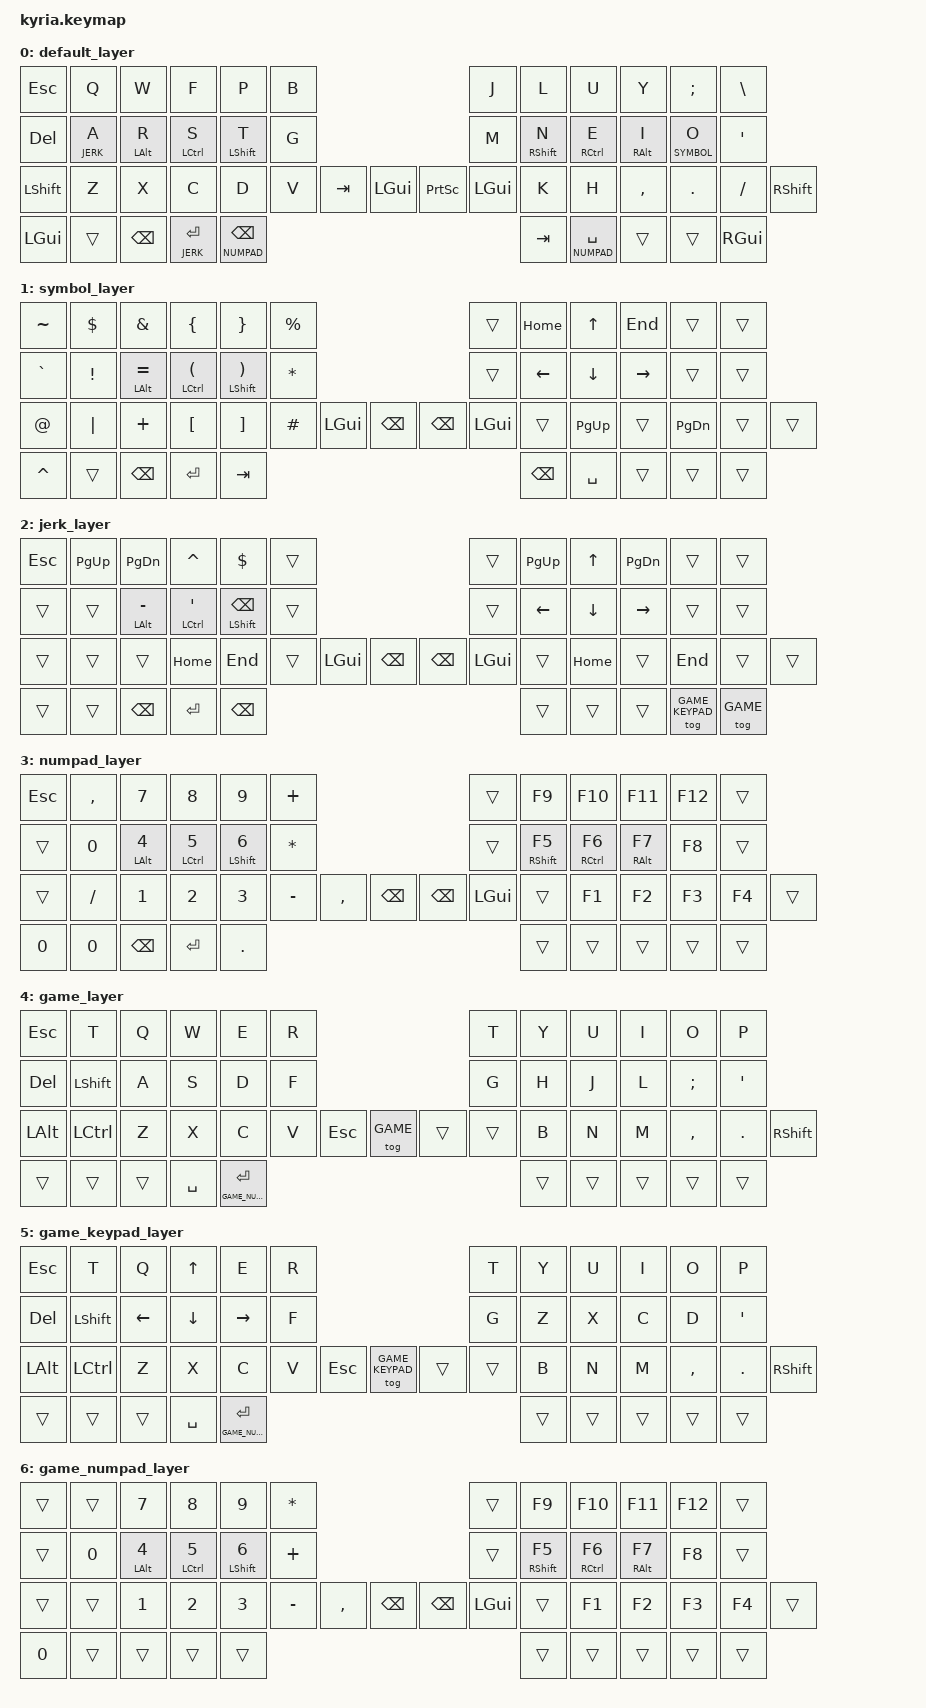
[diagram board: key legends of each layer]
#include <behaviors.dtsi>
#include <dt-bindings/zmk/keys.h>
#include <dt-bindings/zmk/bt.h>
#include <dt-bindings/zmk/ext_power.h>
#define DEFAULT 0
#define SYMBOL 1
#define JERK   2
#define NUMPAD   3
#define GAME   4
#define GAME_KEYPAD  5
#define GAME_NUMPAD  6

/ {
	
  behaviors {        
	  lh_pht: left_hand_positional_hold_tap {            
		compatible = "zmk,behavior-hold-tap";
		label = "POSITIONAL_HOLD_TAP";
		#binding-cells = <2>;
		flavor = "tap-unless-interrupted";
		tapping-term-ms = <120>; // <---[[produces tap if held longer than tapping-term-ms]]          
		quick-tap-ms = <400>;
        bindings = <&kp>, <&kp>;
        hold-trigger-key-positions = <18 19 20 21 22 23>; // <---[[right-hand keys]]   
	};
	rh_pht: right_hand_positional_hold_tap {            
		compatible = "zmk,behavior-hold-tap";
		label = "POSITIONAL_HOLD_TAP";
		#binding-cells = <2>;
		flavor = "tap-unless-interrupted";
		tapping-term-ms = <120>; // <---[[produces tap if held longer than tapping-term-ms]]          
		quick-tap-ms = <400>;
        bindings = <&kp>, <&kp>;
        hold-trigger-key-positions = <12 13 14 15 16 17>; // <---[[left-hand keys]]   
	};
		hm: homerow_mods {            
			compatible = "zmk,behavior-hold-tap";            
			label = "HOMEROW_MODS";            
			#binding-cells = <2>;            
			tapping-term-ms = <129>;            
			quick_tap_ms = <400>;            
			//flavor = "balanced";           
			flavor = "tap-preferred"; 
			bindings = <&kp>, <&kp>;        
		};    
	};

    combos {        
		compatible = "zmk,combos";        
		combo_btc {            
			timeout-ms = <50>;            
			key-positions = <0 12>;            
			bindings = <&bt BT_CLR>;  
		}; 
		combo_min2 {            
			timeout-ms = <50>;            
			key-positions = <3 4>;            
			bindings = <&kp MINUS>;  
		}; 
	
		combo_quot2 { 
			timeout-ms = <50>;             
			key-positions = <27 28>;            
			bindings = <&kp QUOT>;  
		};
	};

	keymap {
		compatible = "zmk,keymap";

		default_layer {
			bindings = <
			 &kp ESC    &kp Q  &kp W     &kp F       &kp P      &kp B  &kp  J  &kp L       &kp U          &kp Y     &kp SEMI     &kp BSLH  
 &kp DEL    &lt JERK A  &hm LALT R  &hm LCTRL S   &hm LSHIFT T     &kp G                                            &kp M   &hm RSHIFT N     &hm RCTRL E       &hm RALT I  &lt SYMBOL O  &kp SQT   
 &kp LSHFT  &kp Z          &kp X       &kp C         &kp D            &kp V  &kp  TAB &kp LGUI  &kp PSCRN  &kp LGUI  &kp K   &kp H           &kp COMMA         &kp DOT     &kp FSLH       &kp RSHIFT 
 &kp LGUI   &trans         &kp BSPC      &lt JERK RET  &lt NUMPAD BSPC                                                           &kp TAB  &lt NUMPAD SPACE  &trans      &trans         &kp RGUI  
 >;
		};
			symbol_layer {
			bindings = <
 &kp TILDE  &kp DLLR   &kp AMPS        &kp LBRC        &kp RBRC         &kp PRCNT                                  &trans  &kp HOME   &kp UP    &kp END      &trans  &trans 
 &kp GRAVE  &kp EXCL   &hm LALT EQUAL  &hm LCTRL LPAR  &hm LSHIFT RPAR  &kp STAR                                  &trans  &kp LEFT   &kp DOWN  &kp RIGHT    &trans  &trans 
 &kp AT      &kp PIPE  &kp PLUS        &kp LBKT        &kp RBKT         &kp POUND   &kp LGUI  &kp BSPC  &kp BSPC  &kp LGUI  &trans  &kp PG_UP  &trans    &kp PG_DN  &trans  &trans 
 &kp CARET     &trans     &kp BSPC          &kp RET         &kp TAB                                                            &kp BSPC  &kp SPC  &trans  &trans  &trans 
>;
};
		jerk_layer {
			bindings = <
 &kp ESC  &kp PG_UP  &kp PG_DN    &kp CARET      &kp DLLR         &trans                                  &trans  &kp PG_UP   &kp UP    &kp PG_DN      &trans  &trans 
 &trans  &trans     &hm LALT MINUS  &hm LCTRL SQT  &hm LSHIFT BSPC  &trans                                  &trans  &kp LEFT   &kp DOWN  &kp RIGHT    &trans  &trans 
 &trans  &trans     &trans         &kp HOME       &kp END          &trans  &kp LGUI  &kp BSPC  &kp BSPC  &kp LGUI  &trans  &kp HOME  &trans    &kp END  &trans  &trans 
 &trans  &trans     &kp BSPC         &kp RET         &kp BSPC                                                   &trans  &trans     &trans    &tog GAME_KEYPAD    &tog GAME    
>;

};
		numpad_layer {
			bindings = <
 &kp ESC  &kp COMMA  &kp N7  &kp N8  &kp N9 &kp PLUS                                  &trans  &kp F9  &kp F10  &kp F11  &kp F12  &trans 
 &trans  &kp N0  &hm LALT N4  &hm LCTRL N5  &hm LSHIFT N6  &kp STAR                                  &trans  &hm RSHIFT F5   &hm RCTRL F6   &hm RALT F7   &kp F8  &trans 
 &trans  &kp FSLH  &kp N1  &kp N2  &kp N3  &kp MINUS  &kp COMMA  &kp BSPC  &kp BSPC  &kp LGUI  &trans  &kp F1   &kp F2   &kp F3   &kp F4  &trans 
 &kp N0  &kp N0  &kp BSPC  &kp RET  &kp DOT                                  &trans  &trans   &trans   &trans   &trans
>;
	};
		game_layer {
			bindings = <
&kp ESC   &kp T      &kp Q  &kp W    &kp E    &kp R                                          &kp T  &kp Y    &kp U   &kp I      &kp O     &kp P
&kp DEL   &kp LSHFT  &kp A  &kp S    &kp D    &kp F                                          &kp G  &kp H    &kp J   &kp L      &kp SEMI  &kp SQT
&kp LALT  &kp LCTRL  &kp Z  &kp X    &kp C    &kp V  &kp ESC &tog GAME    &trans &trans  &kp B  &kp N    &kp M   &kp COMMA  &kp DOT   &kp RSHFT
 &trans  &trans  &trans  &kp SPC  &lt GAME_NUMPAD RET                                                    &trans   &trans  &trans     &trans    &trans
>;
		};
				game_keypad_layer {
			bindings = <
&kp ESC   &kp T      &kp Q  &kp UP    &kp E    &kp R                                          &kp T  &kp Y    &kp U   &kp I      &kp O     &kp P
&kp DEL   &kp LSHFT  &kp LEFT  &kp DOWN    &kp RIGHT    &kp F                                          &kp G  &kp Z    &kp X   &kp C      &kp D  &kp SQT
&kp LALT  &kp LCTRL  &kp Z  &kp X    &kp C    &kp V  &kp ESC &tog GAME_KEYPAD    &trans &trans  &kp B  &kp N    &kp M   &kp COMMA  &kp DOT   &kp RSHFT
 &trans  &trans  &trans  &kp SPC  &lt GAME_NUMPAD RET                                                    &trans   &trans  &trans     &trans    &trans
>;
		};


			game_numpad_layer {
			bindings = <
 &trans  &trans &kp N7  &kp N8  &kp N9 &kp STAR                                  &trans  &kp F9  &kp F10  &kp F11  &kp F12  &trans 
 &trans  &kp N0  &hm LALT N4  &hm LCTRL N5  &hm LSHIFT N6  &kp PLUS	&trans  &hm RSHIFT F5   &hm RCTRL F6   &hm RALT F7   &kp F8  &trans 
 &trans  &trans  &kp N1  &kp N2  &kp N3  &kp MINUS  &kp COMMA  &kp BSPC  &kp BSPC  &kp LGUI  &trans  &kp F1   &kp F2   &kp F3   &kp F4  &trans 
 &kp N0  &trans  &trans  &trans  &trans                                 		 &trans  &trans   &trans   &trans   &trans
>;
	};
};

};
